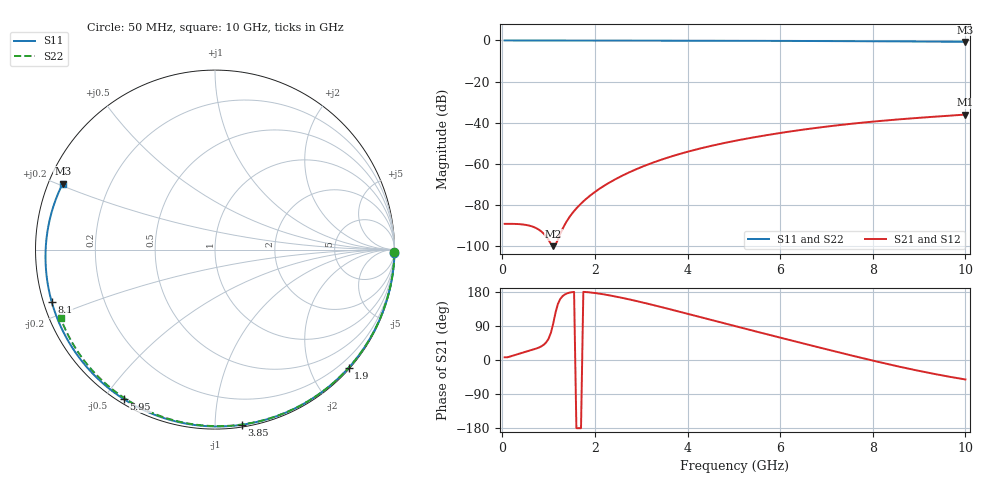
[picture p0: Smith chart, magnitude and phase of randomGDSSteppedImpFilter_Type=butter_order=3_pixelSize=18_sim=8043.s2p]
! freq	dB(S11)	phase(S11)	dB(S12)	phase(S12)
!  dB(S21)	phase(S21)	dB(S22)	phase(S22)
!S-par simulation data
#  GHz  S  DB  R 50
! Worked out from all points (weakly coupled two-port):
!   200 points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, 50 MHz to 10 GHz, reference 50 ohm
!   highest |S21| = -36.06 dB at 10 GHz (marker M1); lowest = -100.1 dB at 1.1 GHz (marker M2)
!   lowest |S11| = -0.7 dB at 10 GHz (marker M3), VSWR 25.61, Z = 2.04 + j10.4 ohm
!   |S11| at or under -10 dB: nowhere
!   |S22| runs from -0.5 to 0.0 dB; largest |S21 - S12| = 0
!   S11 on the Smith chart (normalised r, x): 50 MHz: open; 1.9 GHz: 0.02, -2.64; 3.85 GHz: 0.02, -1.16; 5.95 GHz: 0.02, -0.56; 8.1 GHz: 0.02, -0.16; 10 GHz: 0.04, +0.21
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0.05  -0.00 -1.1  -89.21 7.0  -89.21 7.0  -0.00 -0.9
0.55  -0.01 -12.2  -89.91 23.3  -89.91 23.3  -0.01 -9.9
1.1  -0.03 -24.3  -100.09 96.3  -100.09 96.3  -0.02 -19.7
1.65  -0.05 -36.2  -80.49 -179.8  -80.49 -179.8  -0.04 -29.4
1.75  -0.05 -38.3  -78.30 179.8  -78.30 179.8  -0.04 -31.1
1.9  -0.05 -41.5  -75.42 178.3  -75.42 178.3  -0.04 -33.7
2.2  -0.06 -47.8  -70.68 173.1  -70.68 173.1  -0.05 -38.9
2.55  -0.07 -55.1  -66.25 165.0  -66.25 165.0  -0.06 -44.9
2.95  -0.08 -63.4  -62.10 154.1  -62.10 154.1  -0.07 -51.6
3.4  -0.10 -72.5  -58.27 140.7  -58.27 140.7  -0.08 -59.1
3.85  -0.11 -81.4  -55.09 126.7  -55.09 126.7  -0.09 -66.4
4.45  -0.13 -93.1  -51.60 107.7  -51.60 107.7  -0.11 -75.9
5.05  -0.16 -104.5  -48.73 88.7  -48.73 88.7  -0.13 -85.2
5.95  -0.21 -121.4  -45.20 60.6  -45.20 60.6  -0.17 -98.6
6.7  -0.27 -135.4  -42.77 37.5  -42.77 37.5  -0.21 -109.5
7.4  -0.33 -148.5  -40.87 16.2  -40.87 16.2  -0.26 -119.5
8.1  -0.40 -162.1  -39.29 -4.4  -39.29 -4.4  -0.32 -129.3
8.35  -0.43 -167.1  -38.79 -11.5  -38.79 -11.5  -0.34 -132.8
8.8  -0.48 -176.4  -37.97 -23.6  -37.97 -23.6  -0.39 -139.1
9.2  -0.54 175.1  -37.31 -33.7  -37.31 -33.7  -0.43 -144.7
9.6  -0.60 166.1  -36.68 -43.0  -36.68 -43.0  -0.48 -150.3
10  -0.68 156.5  -36.06 -51.4  -36.06 -51.4  -0.53 -156.0
